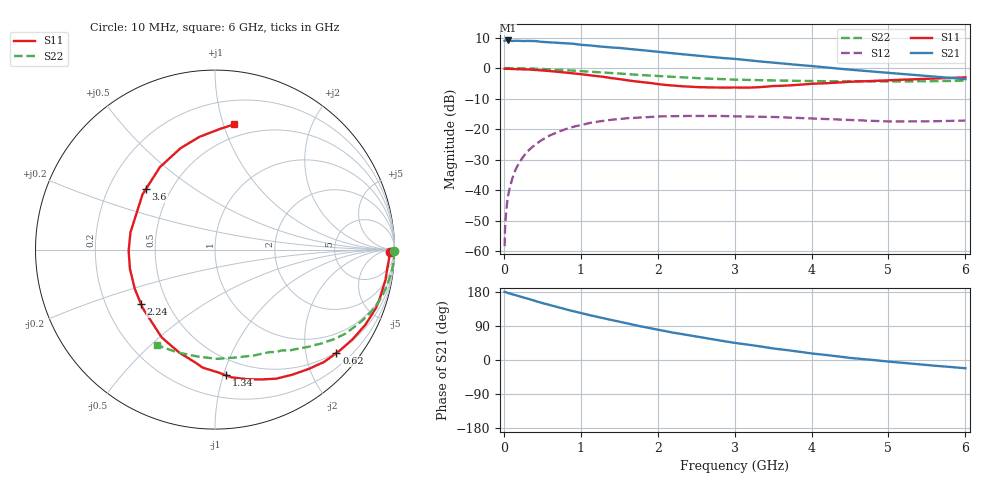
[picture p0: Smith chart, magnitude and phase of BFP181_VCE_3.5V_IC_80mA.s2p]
! Infineon Technologies  Discrete & RF Semiconductors
! BFP181
! VCE = 3.5 V,  IC =  80 mA
! Common Emitter S-Parameters:  Jan 2016
# GHz  S  MA  R  50
!  f  S11  S21  S12  S22
! GHz  MAG  ANG  MAG  ANG  MAG  ANG  MAG  ANG
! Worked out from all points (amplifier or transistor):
!   210 points, 10 MHz to 6 GHz, reference 50 ohm
!   highest |S21| = 9.1 dB at 50 MHz (marker M1)
!   |S21| within 3 dB of that: start of sweep to 1.725 GHz
!   unconditionally stable (mu >= 1): 3.248 GHz to end of sweep
!   at 185 MHz: K = 0.05, MSG = 20.4 dB, |S12| = -31.8 dB
!   at 1.52 GHz: K = 0.49, MSG = 11.6 dB, |S12| = -16.7 dB
!   at 6 GHz: K = 1.32, MAG = 3.4 dB, |S12| = -17.2 dB
!   S11 on the Smith chart (normalised r, x): 10 MHz: 58, -30; 620 MHz: 0.48, -2.64; 1.34 GHz: 0.37, -1.02; 2.24 GHz: 0.35, -0.29; 3.6 GHz: 0.36, +0.33; 6 GHz: 0.39, +1.08
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0.01  0.973 -0.8  2.8 179.7  0.0012 92.4  0.9991 -0.3
0.015  0.9733 -1.1  2.816 179.5  0.0021 88.2  0.9988 -0.4
0.02  0.9736 -1.4  2.832 179.4  0.003 86.5  0.9986 -0.6
0.05  0.9711 -3.1  2.838 177.0  0.0073 91.7  0.997 -1.6
0.135  0.9647 -8.9  2.803 172.1  0.0191 83.6  0.9958 -4.1
0.24  0.9585 -15.8  2.776 165.8  0.0335 79.3  0.99 -7.5
0.4  0.9372 -26.4  2.776 156.1  0.0544 71.9  0.9772 -12.4
0.62  0.8886 -40.4  2.638 143.8  0.0808 62.6  0.9522 -18.7
0.8  0.8452 -51.9  2.564 134.0  0.0994 55.5  0.9256 -23.5
1.02  0.7898 -65.8  2.401 123.1  0.1181 47.4  0.8898 -28.8
1.1  0.7674 -70.6  2.372 118.9  0.1248 44.6  0.8769 -30.6
1.34  0.7033 -85.0  2.206 108.1  0.1388 36.8  0.8386 -35.8
1.5  0.6617 -95.8  2.149 100.7  0.1459 32.4  0.8116 -38.8
1.8  0.5881 -114.6  1.966 87.9  0.1561 24.9  0.7674 -43.9
2.02  0.5427 -128.9  1.844 79.3  0.1611 20.0  0.7407 -47.4
2.24  0.5121 -143.5  1.73 70.9  0.1629 15.2  0.7141 -51.0
2.62  0.4846 -168.4  1.56 58.0  0.1635 8.9  0.6734 -56.6
3.1  0.478 163.2  1.374 42.6  0.1606 2.1  0.6416 -63.7
3.6  0.5119 138.7  1.198 28.1  0.156 -2.9  0.6239 -71.7
4.1  0.5583 120.6  1.05 15.2  0.1475 -6.3  0.6101 -81.0
5.1  0.6396 96.0  0.816 -5.9  0.1332 -6.2  0.6031 -101.7
6  0.7051 81.5  0.659 -21.8  0.1379 -1.9  0.6226 -121.2
